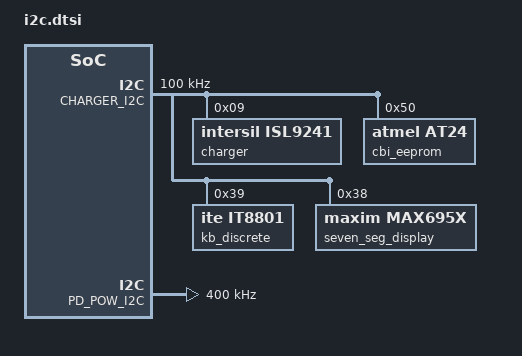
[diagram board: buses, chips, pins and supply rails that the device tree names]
/* Copyright 2024 The ChromiumOS Authors
 * Use of this source code is governed by a BSD-style license that can be
 * found in the LICENSE file.
 */

/ {
	CHARGER_I2C: CHARGER_I2C@700 {
		status = "okay";
		compatible = "zephyr,i2c-emul-controller";
		clock-frequency = <I2C_BITRATE_STANDARD>;
		#address-cells = <1>;
		#size-cells = <0>;
		reg = <0x700 6>;
	};

	PD_POW_I2C: PD_POW_I2C@800 {
		status = "okay";
		compatible = "zephyr,i2c-emul-controller";
		clock-frequency = <I2C_BITRATE_STANDARD>;
		#address-cells = <1>;
		#size-cells = <0>;
		reg = <0x800 6>;
	};

	named-i2c-ports {
		compatible = "named-i2c-ports";

		i2c_charger: charger {
			i2c-port = <&CHARGER_I2C>;
			enum-names = "I2C_PORT_CHARGER",
				"I2C_PORT_BATTERY",
				"I2C_PORT_KB_DISCRETE",
				"I2C_PORT_PORT80",
				"I2C_PORT_EEPROM",
				"I2C_PORT_RAA2250";
		};
		ec_pd_power: typec-aic1-power {
			i2c-port = <&PD_POW_I2C>;
			enum-names = "I2C_PORT_TYPEC_AIC_1";
		};
	};
};

/* charger */
&CHARGER_I2C {
	/* label is deprecated property for i2c-emul-controller */
	/* label = "I2C_CHARGER"; */

	clock-frequency = <I2C_BITRATE_STANDARD>;
	status = "okay";

	charger: raa489@9 {
		compatible = "intersil,isl9241";
		status = "okay";
		reg = <0x9>;
	};
	cbi_eeprom: eeprom@50 {
		compatible = "atmel,at24";
		reg = <0x50>;
		size = <2048>;
		pagesize = <16>;
		address-width = <8>;
		timeout = <5>;
	};
	kb_discrete: ite-it8801@39 {
		compatible = "ite,it8801","cros,i2c-mock";
		reg = <0x39>;
	};
	seven_seg_display: max695x-seven-seg-display@38 {
		compatible = "maxim,max695x","cros,i2c-mock";
		reg = <0x38>;

		/* label marked deprecated */
		/* label = "MAX695X_SEVEN_SEG_DISPLAY"; */
	};
};

/* typec-aic1-power */
&PD_POW_I2C {
	/* label is deprecated property for i2c-emul-controller */
	/* label = "I2C_PD_POWER"; */
	clock-frequency = <I2C_BITRATE_FAST>;
	status = "okay";
};
